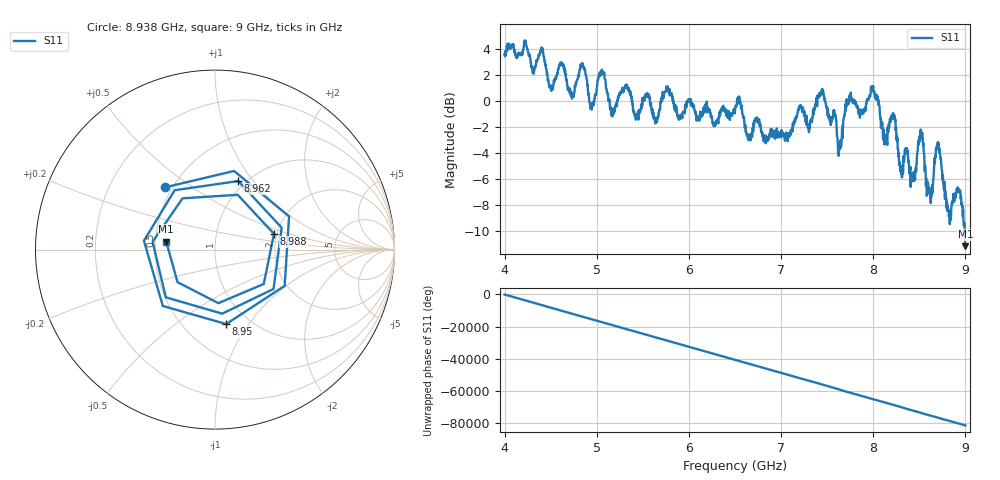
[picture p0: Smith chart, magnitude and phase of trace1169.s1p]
! Created with skrf 1.8.0 (http://scikit-rf.org).
# Hz S RI R 50.0
!freq ReS11 ImS11
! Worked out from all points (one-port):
!   1601 points, 4 GHz to 9 GHz, reference 50 ohm
!   lowest |S11| = -11.2 dB at 9 GHz (marker M1), VSWR 1.76, Z = 28.5 + j2.77 ohm
!   |S11| at or under -10 dB: 8.992405 GHz to end of sweep
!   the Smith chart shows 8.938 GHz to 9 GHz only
!   S11 on the Smith chart (normalised r, x): 8.938 GHz: 0.46, +0.40; 8.95 GHz: 0.78, -0.79; 8.962 GHz: 0.93, +0.85; 8.988 GHz: 1.93, +0.38; 9 GHz: 0.57, +0.06
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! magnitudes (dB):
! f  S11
! 4 GHz  3.6
! 4.403 GHz  4.0
! 4.506 GHz  0.8
! 4.625 GHz  2.9
! 4.731 GHz  0.2
! 4.85 GHz  2.6
! 4.944 GHz  -0.7
! 5.05 GHz  2.2
! 5.169 GHz  -1.2
! 5.25 GHz  0.5
! 5.875 GHz  -1.2
! 6.5 GHz  -0.8
! 7.125 GHz  -2.3
! 7.441 GHz  0.6
! 7.634 GHz  -3.6
! 7.75 GHz  0.2
! 8 GHz  1.1
! 8.375 GHz  -4.2
! 8.431 GHz  -5.5
! 8.519 GHz  -2.4
! 8.622 GHz  -7.6
! 8.703 GHz  -3.5
! 8.819 GHz  -8.5
! 8.938 GHz  -7.1
! 8.95 GHz  -7.5
! 8.962 GHz  -7.9
! 8.988 GHz  -9.4
! 9 GHz  -11.2
